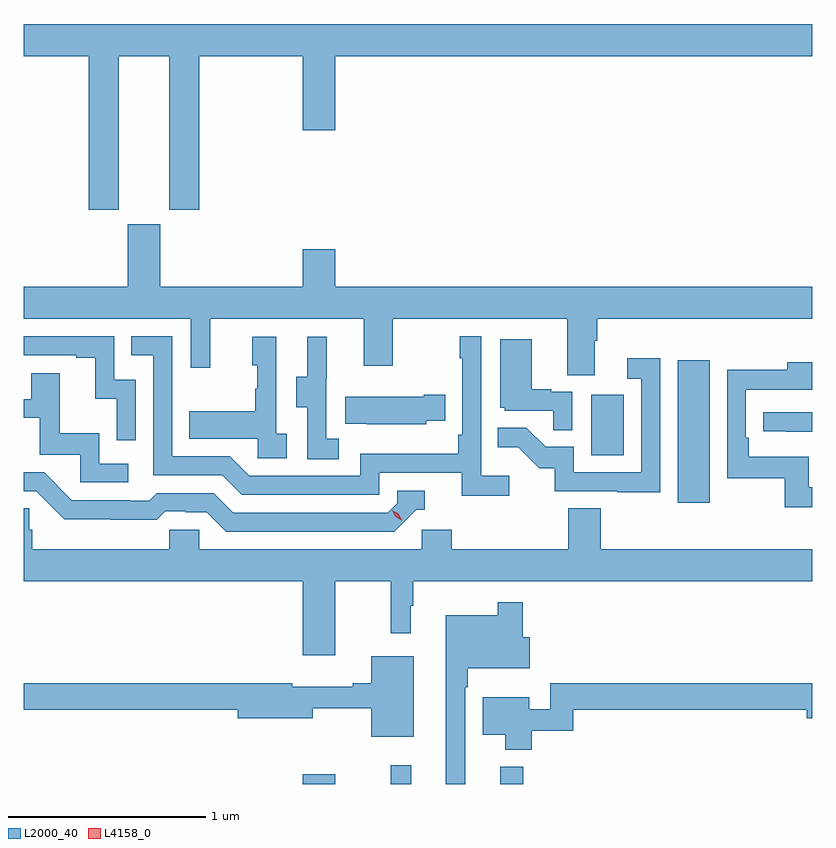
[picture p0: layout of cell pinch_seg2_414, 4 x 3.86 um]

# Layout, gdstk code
import gdstk
lib = gdstk.Library(unit=1e-6, precision=1e-09)
def R(c, l, rs):  # rectangles x0, y0, x1, y1
    for r in rs: c.add(gdstk.rectangle(r[:2], r[2:], *l))
def P(c, l, *ps):  # polygons
    for p in ps: c.add(gdstk.Polygon(p, *l))
L2000_40 = (2000, 40)
L4158_0 = (4158, 0)

pinch_seg2_414 = lib.new_cell('pinch_seg2_414')
R(pinch_seg2_414, L2000_40, [(944.228,611.976,944.392,612.025), (944.674,611.976,944.777,612.07), (945.23,611.976,945.347,612.064), (946.13,613.404,946.291,614.125), (945.692,613.644,945.856,613.951)])
P(pinch_seg2_414, L2000_40, [(943.294,615.668),(943.55,615.668),(943.55,614.889),(943.703,614.889),(943.703,615.668),(944.228,615.668),(944.228,615.294),(944.392,615.294),(944.392,615.668),(946.812,615.668),(946.812,615.832),(942.812,615.832),(942.812,615.668),(943.142,615.668),(943.142,614.889),(943.294,614.889)],
  [(945.709,614.224),(945.722,614.224),(945.722,614.336),(946.812,614.336),(946.812,614.5),(944.392,614.5),(944.392,614.689),(944.228,614.689),(944.228,614.5),(943.504,614.5),(943.504,614.817),(943.34,614.817),(943.34,614.5),(942.812,614.5),(942.812,614.336),(943.659,614.336),(943.659,614.088),(943.757,614.088),(943.757,614.336),(944.537,614.336),(944.537,614.097),(944.685,614.097),(944.685,614.336),(945.569,614.336),(945.569,614.05),(945.709,614.05)],
  [(945.274,613.54),(945.132,613.54),(945.132,614.248),(945.024,614.248),(945.024,614.135),(945.036,614.135),(945.036,613.747),(945.016,613.747),(945.016,613.651),(944.52,613.651),(944.52,613.539),(943.956,613.539),(943.857,613.638),(943.566,613.638),(943.566,614.247),(943.357,614.247),(943.357,614.151),(943.47,614.151),(943.47,613.542),(943.82,613.542),(943.919,613.443),(944.616,613.443),(944.616,613.554),(945.035,613.554),(945.035,613.438),(945.274,613.438)],
  [(943.38,614.028),(943.272,614.028),(943.272,614.247),(942.812,614.247),(942.812,614.151),(943.079,614.151),(943.079,614.139),(943.175,614.139),(943.175,613.931),(943.284,613.931),(943.284,613.719),(943.38,613.719)],
  [(944.41,613.727),(944.346,613.727),(944.346,614.031),(944.348,614.031),(944.348,614.245),(944.249,614.245),(944.249,614.043),(944.195,614.043),(944.195,613.888),(944.25,613.888),(944.25,613.624),(944.41,613.624)],
  [(944.146,613.754),(944.094,613.754),(944.094,614.245),(943.97,614.245),(943.97,614.1),(943.996,614.1),(943.996,613.982),(943.986,613.982),(943.986,613.867),(943.651,613.867),(943.651,613.727),(943.998,613.727),(943.998,613.629),(944.146,613.629)],
  [(945.594,613.965),(945.488,613.965),(945.488,613.978),(945.388,613.978),(945.388,614.233),(945.23,614.233),(945.23,613.884),(945.252,613.884),(945.252,613.869),(945.499,613.869),(945.499,613.771),(945.594,613.771)],
  [(946.041,614.137),(945.873,614.137),(945.873,614.031),(945.945,614.031),(945.945,613.557),(945.603,613.557),(945.603,613.686),(945.459,613.686),(945.361,613.784),(945.217,613.784),(945.217,613.685),(945.321,613.685),(945.428,613.578),(945.505,613.578),(945.505,613.461),(945.823,613.461),(945.823,613.456),(946.041,613.456)],
  [(946.812,613.481),(946.795,613.481),(946.795,613.636),(946.49,613.636),(946.49,613.732),(946.476,613.732),(946.476,613.977),(946.789,613.977),(946.789,613.976),(946.812,613.976),(946.812,614.116),(946.685,614.116),(946.685,614.078),(946.38,614.078),(946.38,613.527),(946.674,613.527),(946.674,613.38),(946.812,613.38)],
  [(943.342,613.602),(943.194,613.602),(943.194,613.756),(942.995,613.756),(942.995,614.059),(942.851,614.059),(942.851,613.929),(942.812,613.929),(942.812,613.833),(942.893,613.833),(942.893,613.647),(943.098,613.647),(943.098,613.506),(943.342,613.506)],
  [(944.853,613.82),(944.951,613.82),(944.951,613.95),(944.84,613.95),(944.84,613.942),(944.443,613.942),(944.443,613.805),(944.551,613.805),(944.551,613.802),(944.853,613.802)],
  [(946.812,613.863),(946.563,613.863),(946.563,613.767),(946.675,613.767),(946.675,613.762),(946.812,613.762)],
  [(944.802,613.368),(944.845,613.368),(944.845,613.464),(944.706,613.464),(944.706,613.401),(944.658,613.353),(943.875,613.353),(943.776,613.452),(943.487,613.452),(943.448,613.413),(943.349,613.413),(943.349,613.416),(943.056,613.416),(942.915,613.557),(942.812,613.557),(942.812,613.461),(942.876,613.461),(943.018,613.319),(943.254,613.319),(943.254,613.317),(943.487,613.317),(943.529,613.359),(943.632,613.359),(943.632,613.356),(943.739,613.356),(943.838,613.257),(944.691,613.257)],
  [(944.392,613.004),(944.674,613.004),(944.674,612.741),(944.776,612.741),(944.776,612.881),(944.788,612.881),(944.788,613.004),(946.812,613.004),(946.812,613.168),(945.74,613.168),(945.74,613.376),(945.575,613.376),(945.575,613.168),(944.984,613.168),(944.984,613.266),(944.832,613.266),(944.832,613.168),(943.701,613.168),(943.701,613.266),(943.551,613.266),(943.551,613.168),(942.854,613.168),(942.854,613.266),(942.839,613.266),(942.839,613.376),(942.812,613.376),(942.812,613.004),(944.228,613.004),(944.228,612.63),(944.392,612.63)],
  [(945.051,612.467),(945.064,612.467),(945.064,612.563),(945.379,612.563),(945.379,612.721),(945.344,612.721),(945.344,612.898),(945.216,612.898),(945.216,612.832),(944.954,612.832),(944.954,611.976),(945.051,611.976)],
  [(944.791,612.625),(944.576,612.625),(944.576,612.488),(944.48,612.488),(944.48,612.469),(944.174,612.469),(944.174,612.488),(942.812,612.488),(942.812,612.352),(943.898,612.352),(943.898,612.31),(944.278,612.31),(944.278,612.36),(944.576,612.36),(944.576,612.215),(944.791,612.215)],
  [(945.389,612.246),(945.599,612.246),(945.599,612.352),(946.784,612.352),(946.784,612.31),(946.812,612.31),(946.812,612.488),(945.483,612.488),(945.483,612.356),(945.376,612.356),(945.376,612.415),(945.14,612.415),(945.14,612.227),(945.254,612.227),(945.254,612.149),(945.389,612.149)])
P(pinch_seg2_414, L4158_0, [(944.728,613.314),(944.697,613.334),(944.681,613.366),(944.681,613.366),(944.681,613.366),(944.712,613.347),(944.729,613.315),(944.729,613.314)])

lib.write_gds('pinch_seg2_414.gds')
